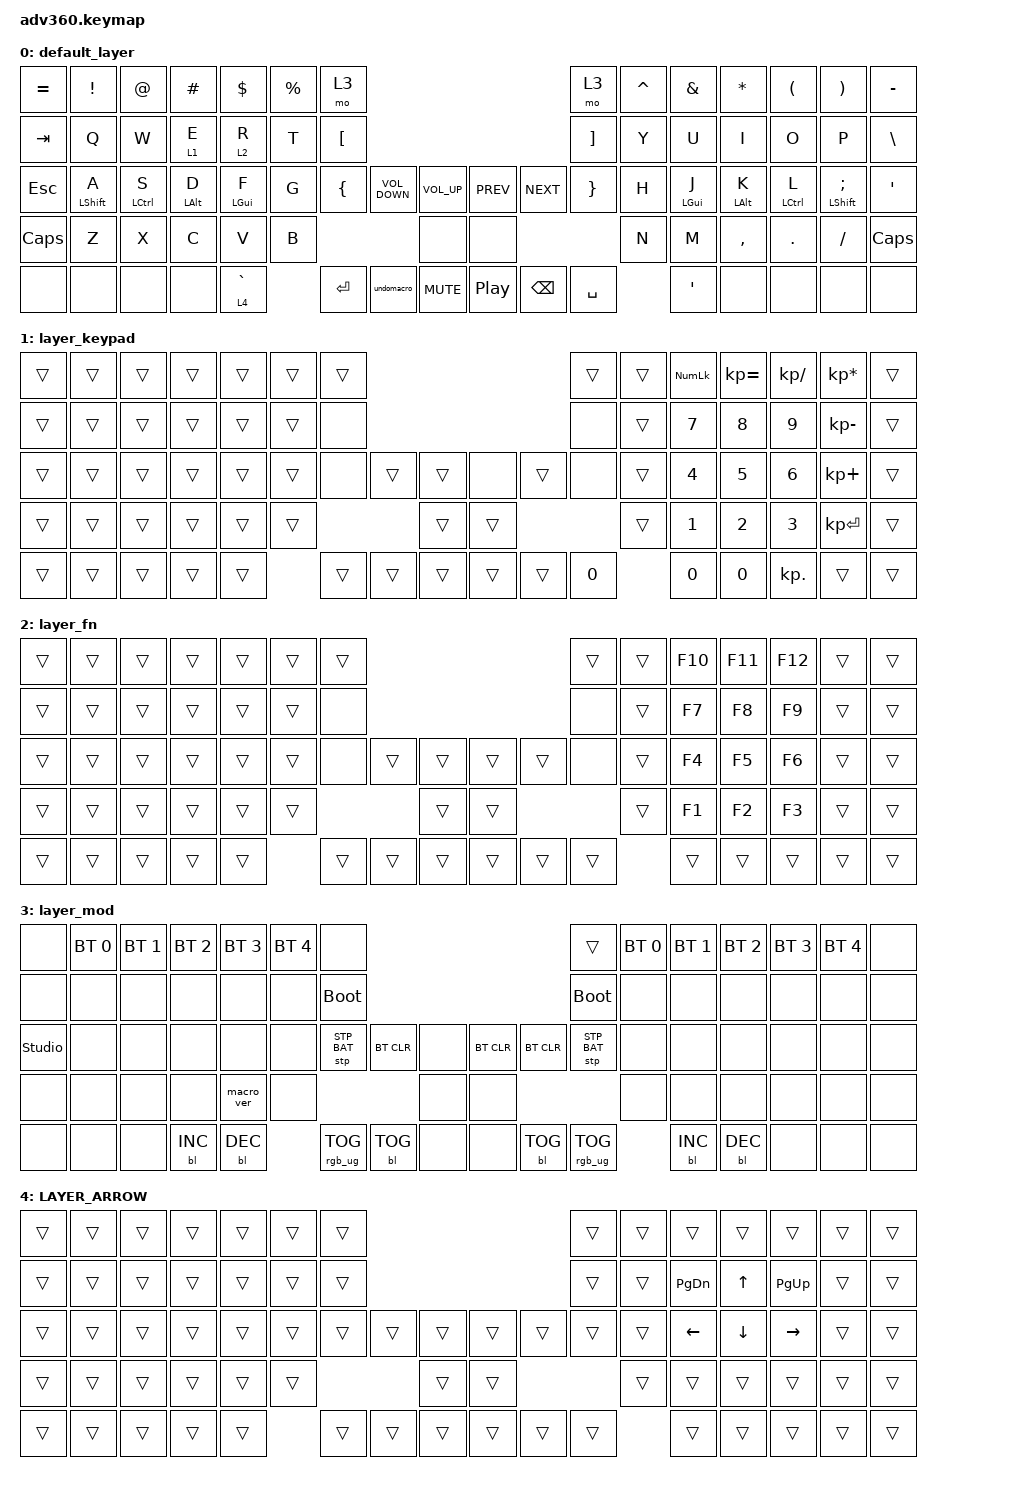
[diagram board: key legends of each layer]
#include <dt-bindings/zmk/stp.h>
#include <behaviors.dtsi>
#include <dt-bindings/zmk/backlight.h>
#include <dt-bindings/zmk/bt.h>
#include <dt-bindings/zmk/keys.h>
#include <dt-bindings/zmk/rgb.h>

/ {
    behaviors {
        #include "macros.dtsi"
      #include "version.dtsi"

        hm: homerow_mods {
            compatible = "zmk,behavior-hold-tap";
            label = "HOMEROW_MODS";
            #binding-cells = <2>;
            tapping-term-ms = <200>;
            quick_tap_ms = <175>;
            flavor = "tap-preferred";
            bindings = <&kp>, <&kp>;
        };
    };

    macros {
        undomacro: undomacro {
            compatible = "zmk,behavior-macro";
            label = "new_macro";
            #binding-cells = <0>;
            bindings =
                <&macro_press>,
                <&kp LGUI>,
                <&macro_tap>,
                <&kp Z>,
                <&macro_release>,
                <&kp LGUI>;
        };
    };

    keymap {
        compatible = "zmk,keymap";

        default_layer {
            bindings = <
&kp EQUAL     &kp EXCLAMATION  &kp AT_SIGN  &kp HASH    &kp DOLLAR   &kp PERCENT  &mo 3                                                                                      &mo 3              &kp CARET  &kp AMPERSAND     &kp STAR    &kp LEFT_PARENTHESIS  &kp RIGHT_PARENTHESIS     &kp MINUS
&kp TAB       &kp Q            &kp W        &lt 1 E     &lt 2 R      &kp T        &kp LEFT_BRACKET                                                                           &kp RIGHT_BRACKET  &kp Y      &kp U             &kp I       &kp O                 &kp P                     &kp BSLH
&kp ESC       &hm LSHIFT A     &hm LCTRL S  &hm LALT D  &hm LGUI F   &kp G        &kp LEFT_BRACE    &kp C_VOLUME_DOWN  &kp C_VOLUME_UP      &kp C_PREV        &kp C_NEXT     &kp RIGHT_BRACE    &kp H      &hm LGUI J        &hm LALT K  &hm LCTRL L           &hm LEFT_SHIFT SEMICOLON  &kp SQT
&kp CAPSLOCK  &kp Z            &kp X        &kp C       &kp V        &kp B                                             &none                &none                                               &kp N      &kp M             &kp COMMA   &kp DOT               &kp FSLH                  &kp CAPSLOCK
&none         &none            &none        &none       &lt 4 GRAVE               &kp ENTER         &undomacro         &kp C_MUTE           &kp C_PLAY_PAUSE  &kp BACKSPACE  &kp SPACE                     &kp SINGLE_QUOTE  &none       &none                 &none                     &none
            >;
        };

        layer_keypad {
            bindings = <
&trans  &trans  &trans  &trans  &trans  &trans  &trans                                      &trans  &trans  &kp KP_NUM    &kp KP_EQUAL  &kp KP_DIVIDE  &kp KP_MULTIPLY  &trans
&trans  &trans  &trans  &trans  &trans  &trans  &none                                       &none   &trans  &kp NUMBER_7  &kp NUMBER_8  &kp N9         &kp KP_MINUS     &trans
&trans  &trans  &trans  &trans  &trans  &trans  &none   &trans  &trans      &none   &trans  &none   &trans  &kp NUMBER_4  &kp N5        &kp N6         &kp KP_PLUS      &trans
&trans  &trans  &trans  &trans  &trans  &trans                  &trans      &trans                  &trans  &kp NUMBER_1  &kp NUMBER_2  &kp NUMBER_3   &kp KP_ENTER     &trans
&trans  &trans  &trans  &trans  &trans          &trans  &trans  &trans      &trans  &trans  &kp N0          &kp NUMBER_0  &kp NUMBER_0  &kp KP_DOT     &trans           &trans
            >;
        };

        layer_fn {
            bindings = <
&trans  &trans  &trans  &trans  &trans  &trans  &trans                                      &trans  &trans  &kp F10  &kp F11  &kp F12  &trans  &trans
&trans  &trans  &trans  &trans  &trans  &trans  &none                                       &none   &trans  &kp F7   &kp F8   &kp F9   &trans  &trans
&trans  &trans  &trans  &trans  &trans  &trans  &none   &trans  &trans      &trans  &trans  &none   &trans  &kp F4   &kp F5   &kp F6   &trans  &trans
&trans  &trans  &trans  &trans  &trans  &trans                  &trans      &trans                  &trans  &kp F1   &kp F2   &kp F3   &trans  &trans
&trans  &trans  &trans  &trans  &trans          &trans  &trans  &trans      &trans  &trans  &trans          &trans   &trans   &trans   &trans  &trans
            >;
        };

        layer_mod {
            bindings = <
&none           &bt BT_SEL 0  &bt BT_SEL 1  &bt BT_SEL 2  &bt BT_SEL 3  &bt BT_SEL 4  &none                                                           &trans           &bt BT_SEL 0  &bt BT_SEL 1  &bt BT_SEL 2  &bt BT_SEL 3  &bt BT_SEL 4  &none
&none           &none         &none         &none         &none         &none         &bootloader                                                     &bootloader      &none         &none         &none         &none         &none         &none
&studio_unlock  &none         &none         &none         &none         &none         &stp STP_BAT     &bt BT_CLR  &none      &bt BT_CLR  &bt BT_CLR  &stp STP_BAT     &none         &none         &none         &none         &none         &none
&none           &none         &none         &none         &macro_ver    &none                                      &none      &none                                    &none         &none         &none         &none         &none         &none
&none           &none         &none         &bl BL_INC    &bl BL_DEC                  &rgb_ug RGB_TOG  &bl BL_TOG  &none      &none       &bl BL_TOG  &rgb_ug RGB_TOG                &bl BL_INC    &bl BL_DEC    &none         &none         &none
            >;
        };

        LAYER_ARROW {
            bindings = <
&trans  &trans  &trans  &trans  &trans  &trans  &trans                                      &trans  &trans  &trans          &trans          &trans           &trans  &trans
&trans  &trans  &trans  &trans  &trans  &trans  &trans                                      &trans  &trans  &kp PAGE_DOWN   &kp UP_ARROW    &kp PG_UP        &trans  &trans
&trans  &trans  &trans  &trans  &trans  &trans  &trans  &trans  &trans      &trans  &trans  &trans  &trans  &kp LEFT_ARROW  &kp DOWN_ARROW  &kp RIGHT_ARROW  &trans  &trans
&trans  &trans  &trans  &trans  &trans  &trans                  &trans      &trans                  &trans  &trans          &trans          &trans           &trans  &trans
&trans  &trans  &trans  &trans  &trans          &trans  &trans  &trans      &trans  &trans  &trans          &trans          &trans          &trans           &trans  &trans
            >;
        };
    };
};
